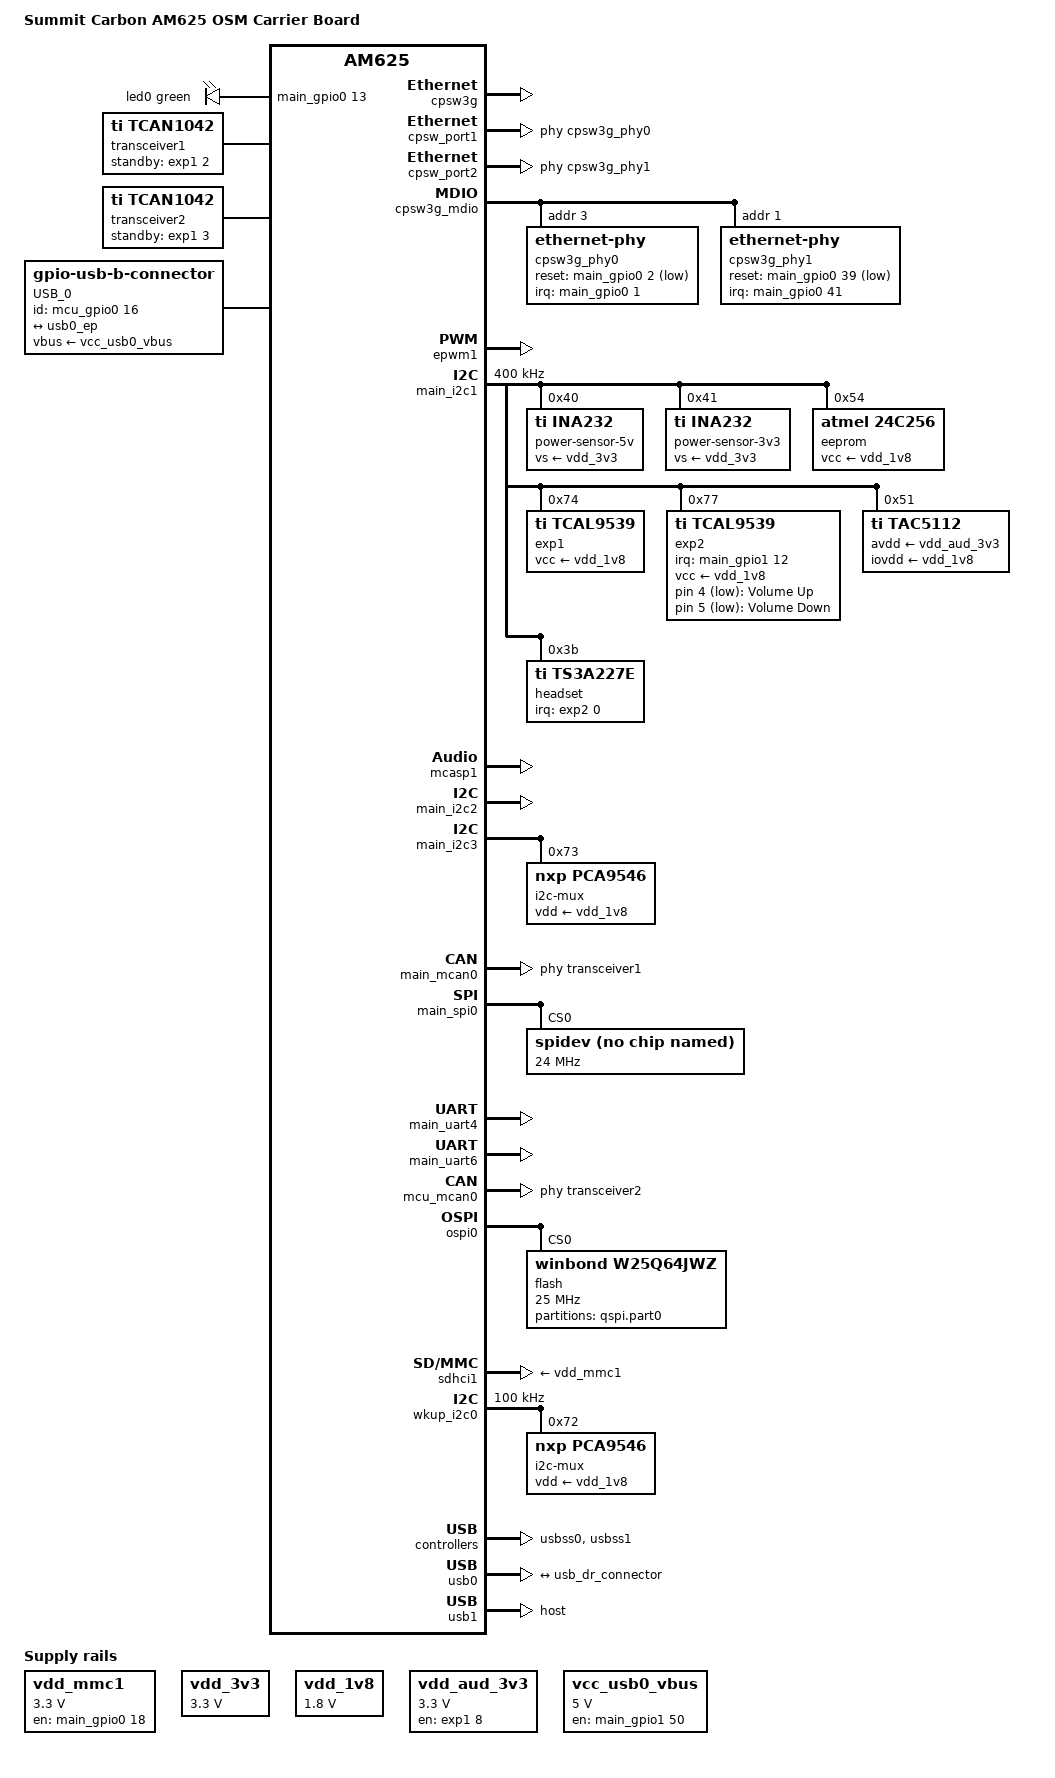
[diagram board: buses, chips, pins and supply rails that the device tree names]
// SPDX-License-Identifier: GPL-2.0-or-later OR MIT
/*
 * Copyright 2024 Ezurio LLC
 *
 */

/dts-v1/;

#include <dt-bindings/leds/common.h>
#include <dt-bindings/input/input.h>
#include "k3-am625-carbon-som.dtsi"
#include "k3-am625-carbon-wifi-cc33xx.dtsi"

/ {
	model = "Summit Carbon AM625 OSM Carrier Board";
	compatible = "summit,am62-dev", "ti,am625";

	aliases {
		gpio3 = &exp1;
		gpio4 = &exp2;
	};

	vdd_mmc1: regulator-sdio-a {
		compatible = "regulator-fixed";
		pinctrl-names = "default";
		pinctrl-0 = <&main_vdd_sdio_a_gpio>;
		regulator-name = "vdd_mmc1";
		regulator-min-microvolt = <3300000>;
		regulator-max-microvolt = <3300000>;
		startup-delay-us = <250000>;
		enable-active-high;
		gpio = <&main_gpio0 18 GPIO_ACTIVE_HIGH>;
	};

	vdd_3v3: regulator-u4-sw2 {
		/* output of U4 */
		compatible = "regulator-fixed";
		regulator-name = "vdd_3v3";
		regulator-min-microvolt = <3300000>;
		regulator-max-microvolt = <3300000>;
		regulator-always-on;
		regulator-boot-on;
	};

	vdd_1v8: regulator-u4-sw3 {
		/* output of U4 */
		compatible = "regulator-fixed";
		regulator-name = "vdd_1v8";
		regulator-min-microvolt = <1800000>;
		regulator-max-microvolt = <1800000>;
		regulator-always-on;
		regulator-boot-on;
	};

	vdd_aud_3v3: regulator-aud-pwr {
		compatible = "regulator-fixed";
		regulator-name = "vdd_aud_3v3";
		regulator-min-microvolt = <3300000>;
		regulator-max-microvolt = <3300000>;
		enable-active-high;
		gpio = <&exp1 8 GPIO_ACTIVE_HIGH>;
	};

	codec_audio: sound {
		compatible = "simple-audio-card";
		status = "okay";

		simple-audio-card,bitclock-master = <&dailink0_master>;
		simple-audio-card,frame-master = <&dailink0_master>;

		simple-audio-card,name = "ti,tac5x1x-soundcard";
		simple-audio-card,format = "i2s";

		simple-audio-card,widgets =
			"Headphone", "Headphone Jack",
			"Line",      "Line In",
			"Line",      "Line Out";

		simple-audio-card,routing =
			"Headphone Jack", "OUT1",
			"Headphone Jack", "OUT2",
			"AIN1", "Line In",
			"AIN2", "Line In",
			"Line Out", "OUT1",
			"Line Out", "OUT2";

		simple-audio-card,aux-devs = <&headset>;

		dailink0_master: simple-audio-card,cpu {
			sound-dai = <&mcasp1>;
			bitclock-master;
			frame-master;
			system-clock-direction-out;
		};

		simple-audio-card,codec {
			sound-dai = <&tac5112>;
		};
	};

	audio_volume {
		compatible = "gpio-keys";

		volume-up {
			label = "Volume Up";
			gpios = <&exp2 4 (GPIO_ACTIVE_LOW | GPIO_PULL_UP)>;
			linux,code = <KEY_VOLUMEUP>;
		};

		volume-down {
			label = "Volume Down";
			gpios = <&exp2 5 (GPIO_ACTIVE_LOW | GPIO_PULL_UP)>;
			linux,code = <KEY_VOLUMEDOWN>;
		};
	};

	leds {
		compatible = "gpio-leds";

		pinctrl-names = "default";
		pinctrl-0 = <&main_led_pins_default>;

		led0 {
			color = <LED_COLOR_ID_GREEN>;
			gpios = <&main_gpio0 13 GPIO_ACTIVE_HIGH>;
			default-state = "off";
		};
	};

	transceiver1: can-phy0 {
		compatible = "ti,tcan1042";
		#phy-cells = <0>;
		max-bitrate = <5000000>;
		standby-gpios = <&exp1 2 GPIO_ACTIVE_HIGH>; /* TCAN1046 STB is active HIGH */
	};

	transceiver2: can-phy1 {
		compatible = "ti,tcan1042";
		#phy-cells = <0>;
		max-bitrate = <5000000>;
		standby-gpios = <&exp1 3 GPIO_ACTIVE_HIGH>; /* TCAN1046 STB is active HIGH */
	};

	vcc_usb0_vbus: regulator-usb0-vbus {
		compatible = "regulator-fixed";
		pinctrl-names = "default";
		pinctrl-0 = <&main_usb0_en_pins_default>;
		enable-active-high;
		gpio = <&main_gpio1 50 GPIO_ACTIVE_HIGH>;
		regulator-max-microvolt = <5000000>;
		regulator-min-microvolt = <5000000>;
		regulator-name = "vcc_usb0_vbus";
	};

	connector {
		compatible = "gpio-usb-b-connector", "usb-b-connector";
		pinctrl-names = "default";
		pinctrl-0 = <&mcu_usb_a_id_pins_default>;
		id-gpios = <&mcu_gpio0 16 GPIO_ACTIVE_HIGH>;
		label = "USB_0";
		self-powered;
		vbus-supply = <&vcc_usb0_vbus>;

		port {
			usb_dr_connector: endpoint {
				remote-endpoint = <&usb0_ep>;
			};
		};
	};
};

&cam_mck {
//	status = "okay"; /* Remove test_cam_mck before enabling this */
};

&cpsw3g {
	status = "okay";
};

&cpsw_port1 {
	status = "okay";
	phy-handle = <&cpsw3g_phy0>;
};

&cpsw_port2 {
	status = "okay";
	phy-handle = <&cpsw3g_phy1>;
};

&cpsw3g_mdio {
	pinctrl-names = "default";
	pinctrl-0 = <&main_mdio1_pins_default>, <&main_rgmii_phy0_gpio>,
		<&main_rgmii_phy1_gpio>;

	status = "okay";

	cpsw3g_phy0: ethernet-phy@3 {
		reg = <3>;
		interrupts-extended = <&main_gpio0 1 IRQ_TYPE_EDGE_FALLING>;
		reset-gpios = <&main_gpio0 2 GPIO_ACTIVE_LOW>;
		reset-assert-us = <150>;
		reset-deassert-us = <300>;
		ti,rx-internal-delay = <DP83867_RGMIIDCTL_2_00_NS>;
		tx-fifo-depth = <DP83867_PHYCR_FIFO_DEPTH_4_B_NIB>;
		rx-fifo-depth = <DP83867_PHYCR_FIFO_DEPTH_4_B_NIB>;
		ti,clk-output-sel = <DP83867_CLK_O_SEL_OFF>;
	};

	cpsw3g_phy1: ethernet-phy@1 {
		reg = <1>;
		interrupts-extended = <&main_gpio0 41 IRQ_TYPE_EDGE_FALLING>;
		reset-gpios = <&main_gpio0 39 GPIO_ACTIVE_LOW>;
		reset-assert-us = <150>;
		reset-deassert-us = <300>;
		ti,rx-internal-delay = <DP83867_RGMIIDCTL_2_00_NS>;
		tx-fifo-depth = <DP83867_PHYCR_FIFO_DEPTH_4_B_NIB>;
		rx-fifo-depth = <DP83867_PHYCR_FIFO_DEPTH_4_B_NIB>;
		ti,clk-output-sel = <DP83867_CLK_O_SEL_OFF>;
	};
};

&epwm1 {
	status = "okay";
};

&main_i2c1 { /* I2C_A */
	status = "okay";
	clock-frequency = <400000>;

	power-sensor-5v@40 {
		compatible = "ti,ina232"; /* TI, INA232AIDDFR */
		reg = <0x40>;
		vs-supply = <&vdd_3v3>;
		shunt-resistor = <33000>; /* 0.033 Ohms */
	};

	power-sensor-3v3@41 {
		compatible = "ti,ina232"; /* TI, INA232AIDDFR */
		reg = <0x41>;
		vs-supply = <&vdd_3v3>;
		shunt-resistor = <33000>; /* 0.033 Ohms */
	};

	eeprom@54 {
		/* U53, Giantec, GT24C256C-2GLI-TR */
		compatible = "atmel,24c256";
		reg = <0x54>;
		vcc-supply = <&vdd_1v8>;
	};

	exp1: gpio@74 {
		/* U35, TI, TCAL9539RTWR */
		compatible = "ti,tcal9539";
		vcc-supply = <&vdd_1v8>;
		reg = <0x74>;

		#gpio-cells = <2>;
		gpio-controller;

		gpio-line-names = "USB_C_OEn_P00", "USB_D_OEn_P01",
			"CAN_A_STB", "CAN_B_STB",
			"M2_WDISABLE1#", "M2_WDISABLE2#",
			"M2_WL_DEVICE_WAKE", "M2_BT_DEVICE_WAKE",
			"AUD_PWR_EN", "M2_Vendor_DF38", "M2_SD_RST#",
			"CHGR_CE#", "M2_POWER_EN",
			"SDIO_A_SWITCH_EN", "SDIO_A_SEL", "";
	};

	exp2: gpio@77 {
		/* U21, TI, TCAL9539RTWR */
		compatible = "ti,tcal9539";
		vcc-supply = <&vdd_1v8>;
		reg = <0x77>;
		#gpio-cells = <2>;
		gpio-controller;

		gpio-line-names = "ACD_nINT", "M2_UART_WAKE",
			"M2_SD_HOST_WAKE", "CHRGR_INTn", 
			"VOL_UP", "VOL_DOWN",
			"", "",
			"LVDS_C_INT", "LVDS_C_HPD",
			"LVDS_D_INT", "LVDS_D_HPD",
			"LVDS_E_INT", "LVDS_E_HPD",
			"RGB_INT", "RGB_HDMI_HPD";

		pinctrl-names = "default";
		pinctrl-0 = <&main_exp2_pins_default>;

		#interrupt-cells = <2>;
		interrupt-controller;
		interrupts-extended = <&main_gpio1 12 IRQ_TYPE_EDGE_FALLING>;
		interrupt-names = "irq";
	};

	tac5112: audio-codec@51 {
		/* U19, TI, XTAC5112IRGER */
		#sound-dai-cells = <0>;
		compatible = "ti,tac5112";
		reg = <0x51>;

		ti,vref = <0>;  /* 2.75V */
		ti,micbias-vg = <0>; /* same as Vref */
		ti,gpios-func = <0>, <0>, <0>; /* GPIOx - Disable */
		ti,gpi1-func = <0>;

		avdd-supply = <&vdd_aud_3v3>;
		iovdd-supply = <&vdd_1v8>;
	};

	headset: ts3a227e@3b {
		/* U20, TI, TS3A227ERVAR */
		compatible = "ti,ts3a227e";
		reg = <0x3b>;

		interrupts-extended = <&exp2 0 IRQ_TYPE_EDGE_FALLING>;
		interrupt-names = "irq";
		ti,micbias = <6>; /* 2.7V, must match mic bias from codec */
	};
};

&mcasp1 {
	status = "okay";
};

&main_i2c2 { /* I2C_B / I2C_B_MCU / J 25 */
	status = "okay";
};

&main_i2c3 { /* I2C_CAM / I2C_D_ALT / J 21 */
	status = "okay";
};

&main_i2c3 { /* I2C_CAM */
	status = "okay";

	i2c-mux@73 {
		compatible = "nxp,pca9546"; /* U34 TCA9546APWR */
		reg = <0x73>;
		vdd-supply = <&vdd_1v8>;
		#address-cells = <1>;
		#size-cells = <0>;

		i2c_cam_a: i2-cam-a@0 {
			reg = <0>;
			#address-cells = <1>;
			#size-cells = <0>;
		};

		i2c_cam_b: i2-cam-b@1 {
			reg = <1>;
			#address-cells = <1>;
			#size-cells = <0>;
		};

		i2c_cam_c: i2-cam-c@2 {
			reg = <2>;
			#address-cells = <1>;
			#size-cells = <0>;
		};

		i2c_cam_d: i2-cam-d@3 {
			reg = <3>;
			#address-cells = <1>;
			#size-cells = <0>;
		};
	};
};

&main_mcan0 { /* CAN_A */
	status = "okay";
	phys = <&transceiver1>;
};

&main_pmx0 {
	main_exp2_pins_default: main-exp2-default-pins {
		pinctrl-single,pins = <
			AM62X_IOPAD(0x1a8, PIN_INPUT_PULLUP, 7) /* GPIO_A_3 (D20) MCASP0_AFSX.GPIO1_12 */
		>;
	};

	main_rgmii_phy0_gpio: main-rgmii-phy0-gpio-default-pins {
		pinctrl-single,pins = <
			AM62X_IOPAD(0x008, PIN_INPUT, 7) /* ETH_A_RST (J24) OSPI0_DQS.GPIO0_2 */
			AM62X_IOPAD(0x004, PIN_INPUT, 7) /* ETH_A_INT (G25) OSPI0_LBCLKO.GPIO0_1 */
		>;
	};

	main_rgmii_phy1_gpio: main-rgmii-phy1-gpio-default-pins {
		pinctrl-single,pins = <
			AM62X_IOPAD(0x0a0, PIN_INPUT, 7) /* ETH_B_RST (K25) GPMC0_WPn.GPIO0_39 */
			AM62X_IOPAD(0x0a8, PIN_INPUT, 7) /* ETH_B_INT(M21) GPMC0_CSn0.GPIO0_41 */
		>;
	};

	main_vdd_sdio_a_gpio: main-vdd-sdio-a-gpio-default-pins {
		pinctrl-single,pins = <
			AM62X_IOPAD(0x048, PIN_INPUT, 7) /* SDIO_A_PWR_EN (N25) GPMC0_AD3.GPIO0_18 */
		>;
	};

	main_usb0_en_pins_default: main-usb0-en-default-pins {
		pinctrl-single,pins = <
			AM62X_IOPAD(0x254, PIN_INPUT, 7) /* (C20) USB0_DRVVBUS.GPIO1_50 */
		>;
	};

	main_led_pins_default: main-led-default-pins {
		pinctrl-single,pins = <
			AM62X_IOPAD(0x034, PIN_OUTPUT, 7) /* (H21) OSPI0_CSN2.GPIO0_13 */
		>;
	};
};

&main_spi0 { /* SPI_B */
	status = "okay";

	spidev@0 {
		compatible = "rohm,dh2228fv";
		spi-max-frequency = <24000000>;
		reg = <0>;
	};
};

&main_uart4 { /* UART_D */
	status = "okay";
};

&main_uart6 { /* UART_A */
	status = "okay";
};

&mcu_mcan0 { /* CAN_B */
	status = "okay";
	phys = <&transceiver2>;
};

&mcu_pmx0 {
	wkupi2c1_pins_default: mywkupi2c1-default-pins {
		pinctrl-single,pins = <
			AM62X_MCU_IOPAD(0x004c, PIN_INPUT_PULLUP, 0) /* GPIO_B_4 (B9) WKUP_I2C0_SCL */
			AM62X_MCU_IOPAD(0x0050, PIN_INPUT_PULLUP, 0) /* GPIO_B_5 (A9) WKUP_I2C0_SDA */
		>;
	};
};

&ospi0 { /* SPI_A Used as a qSPI */
	status = "okay";

	flash@0 {
		compatible = "winbond,w25q64jwz", "jedec,spi-nor";
		reg = <0>;
		spi-rx-bus-width = <4>;
		spi-tx-bus-width = <4>;
		spi-max-frequency = <25000000>;
		cdns,tshsl-ns = <60>;
		cdns,tsd2d-ns = <60>;
		cdns,tchsh-ns = <60>;
		cdns,tslch-ns = <60>;
		cdns,read-delay = <4>;

		partitions {
			compatible = "fixed-partitions";
			#address-cells = <1>;
			#size-cells = <1>;

			/* Sample  partition occupies full size of the device */
			partition@0 {
				label = "qspi.part0";
				reg = <0x0 0>;
			};
		};
	};
};

&sdhci1 { /* SDIO_A uSD / M.2_SDIO */
	status = "okay";
	vmmc-supply = <&vdd_mmc1>; /* SDIO_A_PWR_EN */
	vqmmc-supply = <&vdd_sd>; /* VSEL_SD */
	disable-wp;

	ti,driver-strength-ohm = <50>;
};

&wkup_i2c0 { /* I2C_C */
	status = "okay";		/* TODO HW changes */
	pinctrl-names = "default";
	pinctrl-0 = <&wkupi2c1_pins_default>;
	clock-frequency = <100000>;

	i2c-mux@72 {
		compatible = "nxp,pca9546"; /* U34 TCA9546APWR */
		reg = <0x72>;

		vdd-supply = <&vdd_1v8>;
		#address-cells = <1>;
		#size-cells = <0>;

		i2c_port_c: i2-c-port-c@0 {
			reg = <0>;
			#address-cells = <1>;
			#size-cells = <0>;
		};

		i2c_port_d: i2-c-port-d@1 {
			reg = <1>;
			#address-cells = <1>;
			#size-cells = <0>;
		};

		i2c_port_e: i2-c-port-e@2 {
			reg = <2>;
			#address-cells = <1>;
			#size-cells = <0>;
		};

		i2c_port_rgb: i2-c-port-rgb@3 {
			reg = <3>;
			#address-cells = <1>;
			#size-cells = <0>;
		};
	};
};

&usbss0 {
	status = "okay";
	ti,vbus-divider;
};

&usbss1 {
	status = "okay";
	ti,vbus-divider;
};

&usb0 {
	adp-disable;
	usb-role-switch;

	port {
		usb0_ep: endpoint {
			remote-endpoint = <&usb_dr_connector>;
		};
	};
};

&usb1 {
	pinctrl-names = "default";
	pinctrl-0 = <&main_usb1_pins_default>;

	dr_mode = "host";
};
